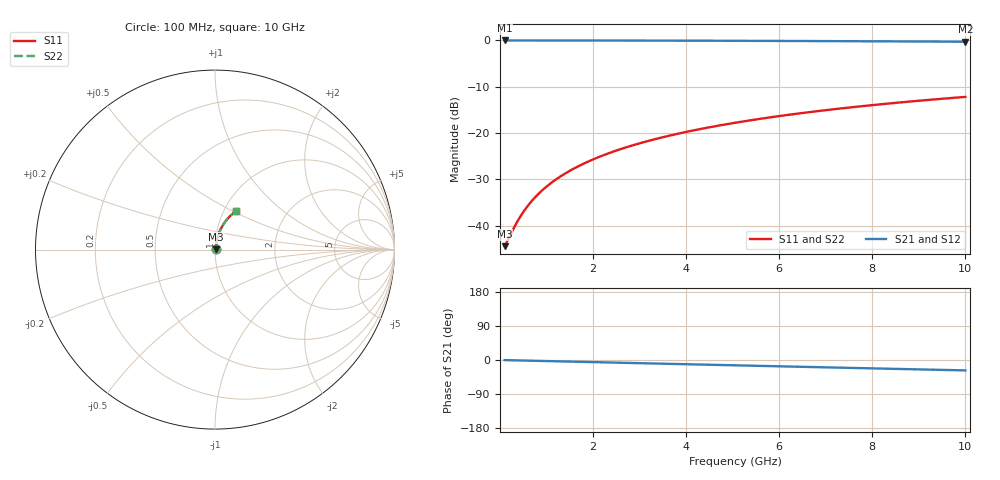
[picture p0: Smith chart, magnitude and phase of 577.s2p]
# Hz S RI R 50.00
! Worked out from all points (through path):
!   100 points, 100 MHz to 10 GHz, reference 50 ohm
!   highest |S21| = -0.05 dB at 100 MHz (marker M1); lowest = -0.3 dB at 10 GHz (marker M2)
!   group delay of S21, straight-line fit = 7.63 ps
!   lowest |S11| = -44.4 dB at 100 MHz (marker M3), VSWR 1.01, Z = 50.6 + j0.259 ohm
!   |S11| at or under -10 dB: start of sweep to end of sweep
!   |S22| runs from -44.4 to -12.2 dB; largest |S21 - S12| = 0
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1e8  0.00548 0.00256  0.9945 -0.00484  0.9945 -0.00484  0.00548 0.00256
3e8  0.00564 0.00769  0.9943 -0.0145  0.9943 -0.0145  0.00564 0.00769
4e8  0.00575 0.0103  0.9942 -0.0194  0.9942 -0.0194  0.00575 0.0103
5e8  0.00588 0.0128  0.994 -0.0242  0.994 -0.0242  0.00588 0.0128
6e8  0.00603 0.0154  0.9939 -0.029  0.9939 -0.029  0.00603 0.0154
7e8  0.00621 0.0179  0.9936 -0.0339  0.9936 -0.0339  0.00621 0.0179
8e8  0.00641 0.0205  0.9934 -0.0387  0.9934 -0.0387  0.00641 0.0205
1e9  0.00688 0.0256  0.9928 -0.0484  0.9928 -0.0484  0.00688 0.0256
1.2e9  0.00745 0.0307  0.9921 -0.058  0.9921 -0.058  0.00745 0.0307
1.5e9  0.00848 0.0383  0.9909 -0.0725  0.9909 -0.0725  0.00848 0.0383
1.8e9  0.00974 0.0459  0.9894 -0.0869  0.9894 -0.0869  0.00974 0.0459
2.1e9  0.0112 0.0534  0.9876 -0.1013  0.9876 -0.1013  0.0112 0.0534
2.5e9  0.0135 0.0634  0.9848 -0.1204  0.9848 -0.1204  0.0135 0.0634
2.9e9  0.0162 0.0732  0.9816 -0.1394  0.9816 -0.1394  0.0162 0.0732
3.4e9  0.0201 0.0854  0.9768 -0.1629  0.9768 -0.1629  0.0201 0.0854
4.2e9  0.0274 0.1043  0.9678 -0.2002  0.9678 -0.2002  0.0274 0.1043
5.1e9  0.0374 0.1248  0.9556 -0.2413  0.9556 -0.2413  0.0374 0.1248
5.9e9  0.0477 0.1422  0.943 -0.277  0.943 -0.277  0.0477 0.1422
6.7e9  0.0593 0.1586  0.9287 -0.3118  0.9287 -0.3118  0.0593 0.1586
7.5e9  0.072 0.174  0.913 -0.3456  0.913 -0.3456  0.072 0.174
8.4e9  0.0875 0.1901  0.8936 -0.3824  0.8936 -0.3824  0.0875 0.1901
1e10  0.118 0.215  0.8551 -0.4442  0.8551 -0.4442  0.118 0.215
